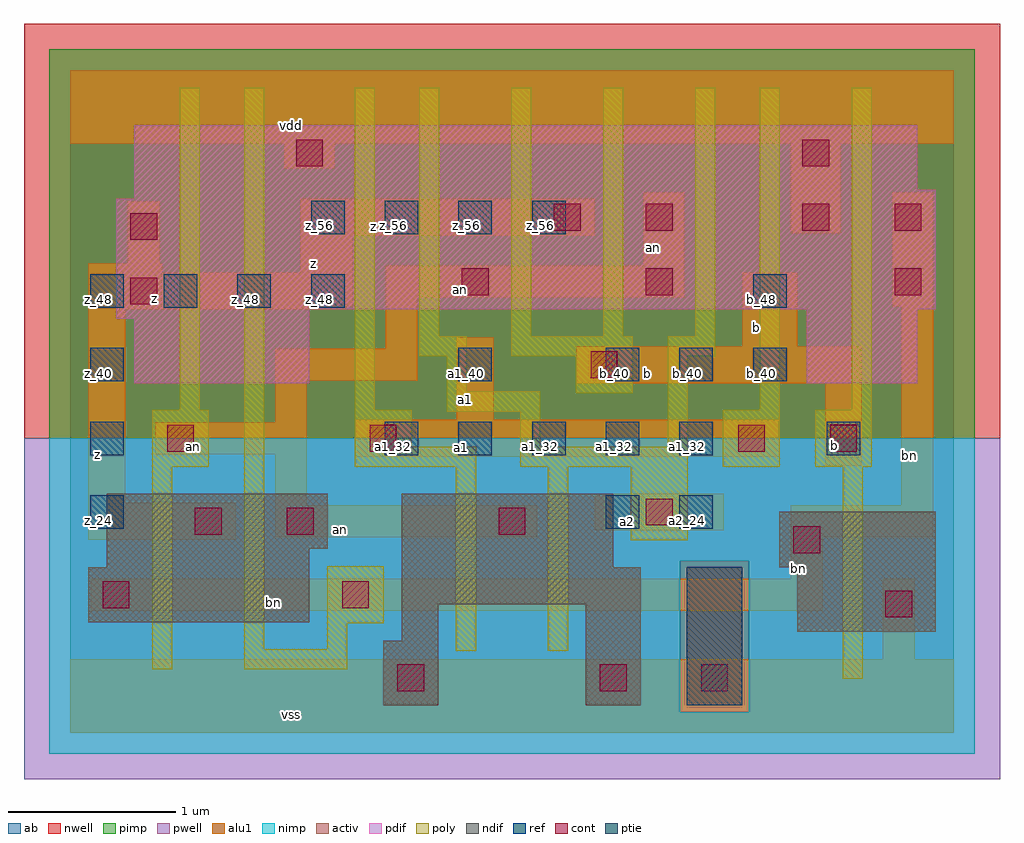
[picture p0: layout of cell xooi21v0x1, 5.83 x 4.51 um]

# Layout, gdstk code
import gdstk
lib = gdstk.Library(unit=1e-6, precision=2.5e-09)
def R(c, l, rs):  # rectangles x0, y0, x1, y1
    for r in rs: c.add(gdstk.rectangle(r[:2], r[2:], *l))
def A(c, l, x, y, w, h, nx, ny, dx, dy):  # array of equal rectangles
    R(c, l, [(x+i*dx, y+j*dy, x+i*dx+w, y+j*dy+h) for i in range(nx) for j in range(ny)])
ndif = (3, 0)
pdif = (4, 0)
ptie = (6, 0)
ref = (24, 0)
cont = (25, 0)
pwell = (41, 0)
nwell = (42, 0)
activ = (43, 0)
pimp = (44, 0)
nimp = (45, 0)
poly = (46, 0)
alu1 = (49, 0)
ab = (63, 0)

xooi21v0x1 = lib.new_cell('xooi21v0x1')
R(xooi21v0x1, ndif, [(1.87,0.165,2.2,0.55), (3.08,0.165,3.41,0.77), (1.98,0.55,2.2,0.77), (4.345,0.605,5.17,0.99), (0.11,0.66,1.43,0.99), (1.98,0.77,3.41,0.99), (0.22,0.99,1.43,1.1), (1.98,0.99,3.245,1.43), (4.235,0.99,5.17,1.32), (0.22,1.1,1.54,1.43)])
R(xooi21v0x1, pdif, [(0.385,2.09,1.43,2.475), (4.4,2.09,5.06,2.53), (0.275,2.475,1.43,2.53), (0.275,2.53,5.17,3.19), (0.385,3.19,5.17,3.245), (0.385,3.245,5.06,3.63)])
R(xooi21v0x1, ptie, [(3.685,0.165,4.015,0.99)])
A(xooi21v0x1, ref, 0.12, 1.22, 0.2, 0.2, 1, 3, 0, 0.44)
A(xooi21v0x1, ref, 1.88, 1.66, 0.2, 0.2, 5, 1, 0.44, 0)
A(xooi21v0x1, ref, 3.2, 2.1, 0.2, 0.2, 3, 1, 0.44, 0)
A(xooi21v0x1, ref, 0.12, 2.54, 0.2, 0.2, 4, 1, 0.44, 0)
A(xooi21v0x1, ref, 1.44, 2.98, 0.2, 0.2, 4, 1, 0.44, 0)
R(xooi21v0x1, ref, [(3.2,1.22,3.4,1.42), (3.64,1.22,3.84,1.42), (4.52,1.66,4.72,1.86), (2.32,2.1,2.52,2.3), (4.08,2.54,4.28,2.74)])
R(xooi21v0x1, cont, [(1.955,0.25,2.115,0.41), (3.165,0.25,3.325,0.41), (3.77,0.25,3.93,0.41), (4.87,0.69,5.03,0.85), (0.195,0.745,0.355,0.905), (1.625,0.745,1.785,0.905), (4.32,1.075,4.48,1.235), (0.745,1.185,0.905,1.345), (1.295,1.185,1.455,1.345), (2.56,1.185,2.72,1.345), (3.44,1.24,3.6,1.4), (0.58,1.68,0.74,1.84), (1.79,1.68,1.95,1.84), (3.99,1.68,4.15,1.84), (4.54,1.68,4.7,1.84), (3.11,2.12,3.27,2.28), (0.36,2.56,0.52,2.72), (2.34,2.615,2.5,2.775), (3.44,2.615,3.6,2.775), (4.925,2.615,5.085,2.775), (0.36,2.945,0.52,3.105), (2.89,3,3.05,3.16), (3.44,3,3.6,3.16), (4.375,3,4.535,3.16), (4.925,3,5.085,3.16), (1.35,3.385,1.51,3.545), (4.375,3.385,4.535,3.545)])
R(xooi21v0x1, pwell, [(-0.275,-0.275,5.555,1.76)])
R(xooi21v0x1, nwell, [(-0.275,1.76,5.555,4.235)])
R(xooi21v0x1, activ, [(1.87,0.165,2.2,0.55), (3.08,0.165,3.41,0.77), (3.685,0.165,4.015,0.99), (1.98,0.55,2.2,0.77), (4.345,0.605,5.17,0.99), (0.11,0.66,1.43,0.99), (1.98,0.77,3.41,0.99), (0.22,0.99,1.43,1.1), (1.98,0.99,3.245,1.43), (4.235,0.99,5.17,1.32), (0.22,1.1,1.54,1.43), (0.385,2.09,1.43,2.475), (4.4,2.09,5.06,2.53), (0.275,2.475,1.43,2.53), (0.275,2.53,5.17,3.19), (0.385,3.19,5.17,3.245), (0.385,3.245,5.06,3.63)])
R(xooi21v0x1, pimp, [(3.645,0.125,4.055,1.03), (-0.125,1.76,5.405,4.085)])
R(xooi21v0x1, nimp, [(-0.125,-0.125,5.405,0.125), (-0.125,0.125,3.645,1.03), (4.055,0.125,5.405,1.03), (-0.125,1.03,5.405,1.76)])
A(xooi21v0x1, poly, 2.085, 2.37, 0.12, 1.485, 4, 1, 0.55, 0)
R(xooi21v0x1, poly, [(4.615,0.325,4.735,1.59), (0.49,0.38,0.61,1.59), (1.04,0.38,1.655,0.5), (2.305,0.49,2.425,1.59), (2.855,0.49,2.975,1.59), (1.04,0.5,1.16,3.855), (1.535,0.5,1.655,0.655), (1.535,0.655,1.875,0.995), (3.35,1.15,3.69,1.59), (0.49,1.59,0.83,1.93), (1.7,1.59,2.425,1.71), (2.69,1.59,3.69,1.71), (3.9,1.59,4.24,1.93), (4.45,1.59,4.79,1.93), (1.7,1.71,2.04,1.93), (2.69,1.71,2.81,1.92), (3.57,1.71,3.69,2.25), (2.25,1.92,2.81,2.04), (0.655,1.93,0.775,3.855), (1.7,1.93,1.82,3.855), (4.12,1.93,4.24,3.855), (4.67,1.93,4.79,3.855), (3.02,2.03,3.36,2.25), (2.25,2.04,2.37,2.25), (2.085,2.25,2.37,2.37), (2.635,2.25,3.36,2.37), (3.57,2.25,3.855,2.37)])
R(xooi21v0x1, alu1, [(0,0,5.28,0.44), (4.855,0.44,5.045,0.92), (0.125,0.73,4.495,0.92), (4.305,0.92,4.495,1.17), (0.11,1.155,0.99,1.375), (1.225,1.17,2.79,1.36), (4.305,1.17,5.155,1.36), (3.135,1.21,3.905,1.43), (1.225,1.36,1.415,1.665), (4.965,1.36,5.155,2.545), (0.11,1.375,0.33,2.53), (4.51,1.595,4.73,2.09), (1.705,1.65,4.235,1.87), (0.51,1.665,1.415,1.855), (1.225,1.855,1.415,2.105), (2.31,1.87,2.53,2.365), (3.025,2.09,4.73,2.31), (1.225,2.105,2.075,2.295), (1.885,2.295,2.075,2.6), (4.015,2.31,4.345,2.75), (0.11,2.53,1.65,2.545), (0.11,2.545,1.69,2.75), (4.91,2.545,5.155,3.23), (1.885,2.6,3.67,2.79), (0.11,2.75,0.55,2.805), (1.375,2.75,1.69,2.97), (3.425,2.79,3.67,3.23), (0.345,2.805,0.535,3.175), (1.375,2.97,3.135,3.19), (4.305,2.985,4.605,3.52), (1.28,3.37,1.58,3.52), (0,3.52,5.28,3.96)])
R(xooi21v0x1, ab, [(0,0,5.28,3.96)])
xooi21v0x1.add(gdstk.Label('vss', (1.32,0.11), layer=49, texttype=0))
xooi21v0x1.add(gdstk.Label('bn', (1.2175,0.7775), layer=49, texttype=0))
xooi21v0x1.add(gdstk.Label('bn', (4.3525,0.9825), layer=49, texttype=0))
xooi21v0x1.add(gdstk.Label('bn', (5.0125,1.655), layer=49, texttype=0))
xooi21v0x1.add(gdstk.Label('a2', (3.3275,1.265), layer=49, texttype=0))
xooi21v0x1.add(gdstk.Label('an', (1.615,1.2175), layer=49, texttype=0))
xooi21v0x1.add(gdstk.Label('b', (4.565,1.7175), layer=49, texttype=0))
xooi21v0x1.add(gdstk.Label('a1', (2.3375,1.705), layer=49, texttype=0))
xooi21v0x1.add(gdstk.Label('an', (0.735,1.7125), layer=49, texttype=0))
xooi21v0x1.add(gdstk.Label('b', (3.45,2.145), layer=49, texttype=0))
xooi21v0x1.add(gdstk.Label('b', (4.0975,2.42), layer=49, texttype=0))
xooi21v0x1.add(gdstk.Label('a1', (2.365,1.9925), layer=49, texttype=0))
xooi21v0x1.add(gdstk.Label('z', (0.165,1.6625), layer=49, texttype=0))
xooi21v0x1.add(gdstk.Label('an', (2.33,2.6475), layer=49, texttype=0))
xooi21v0x1.add(gdstk.Label('z', (0.505,2.595), layer=49, texttype=0))
xooi21v0x1.add(gdstk.Label('an', (3.485,2.9), layer=49, texttype=0))
xooi21v0x1.add(gdstk.Label('z', (1.4525,2.805), layer=49, texttype=0))
xooi21v0x1.add(gdstk.Label('z', (1.815,3.025), layer=49, texttype=0))
xooi21v0x1.add(gdstk.Label('vdd', (1.32,3.63), layer=49, texttype=0))
xooi21v0x1.add(gdstk.Label('z_48', (0.61,2.59), layer=24, texttype=0))
xooi21v0x1.add(gdstk.Label('z_48', (1.05,2.59), layer=24, texttype=0))
xooi21v0x1.add(gdstk.Label('z_48', (1.49,2.59), layer=24, texttype=0))
xooi21v0x1.add(gdstk.Label('z_56', (1.49,3.03), layer=24, texttype=0))
xooi21v0x1.add(gdstk.Label('a1_32', (1.93,1.71), layer=24, texttype=0))
xooi21v0x1.add(gdstk.Label('z_56', (1.93,3.03), layer=24, texttype=0))
xooi21v0x1.add(gdstk.Label('z_24', (0.17,1.27), layer=24, texttype=0))
xooi21v0x1.add(gdstk.Label('z_32', (0.17,1.71), layer=24, texttype=0))
xooi21v0x1.add(gdstk.Label('z_40', (0.17,2.15), layer=24, texttype=0))
xooi21v0x1.add(gdstk.Label('z_48', (0.17,2.59), layer=24, texttype=0))
xooi21v0x1.add(gdstk.Label('a1_32', (2.37,1.71), layer=24, texttype=0))
xooi21v0x1.add(gdstk.Label('a1_40', (2.37,2.15), layer=24, texttype=0))
xooi21v0x1.add(gdstk.Label('z_56', (2.37,3.03), layer=24, texttype=0))
xooi21v0x1.add(gdstk.Label('a1_32', (2.81,1.71), layer=24, texttype=0))
xooi21v0x1.add(gdstk.Label('z_56', (2.81,3.03), layer=24, texttype=0))
xooi21v0x1.add(gdstk.Label('a2_24', (3.25,1.27), layer=24, texttype=0))
xooi21v0x1.add(gdstk.Label('a1_32', (3.25,1.71), layer=24, texttype=0))
xooi21v0x1.add(gdstk.Label('b_40', (3.25,2.15), layer=24, texttype=0))
xooi21v0x1.add(gdstk.Label('a2_24', (3.69,1.27), layer=24, texttype=0))
xooi21v0x1.add(gdstk.Label('a1_32', (3.69,1.71), layer=24, texttype=0))
xooi21v0x1.add(gdstk.Label('b_40', (3.69,2.15), layer=24, texttype=0))
xooi21v0x1.add(gdstk.Label('b_40', (4.13,2.15), layer=24, texttype=0))
xooi21v0x1.add(gdstk.Label('b_48', (4.13,2.59), layer=24, texttype=0))
xooi21v0x1.add(gdstk.Label('b_32', (4.57,1.71), layer=24, texttype=0))

lib.write_gds('xooi21v0x1.gds')
